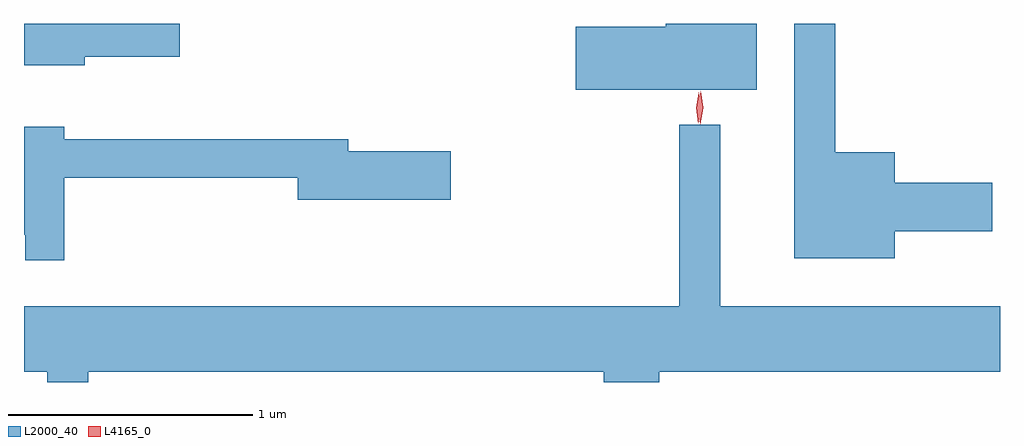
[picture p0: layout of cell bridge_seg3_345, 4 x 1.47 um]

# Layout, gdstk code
import gdstk
lib = gdstk.Library(unit=1e-6, precision=1e-09)
def P(c, l, *ps):  # polygons
    for p in ps: c.add(gdstk.Polygon(p, *l))
L2000_40 = (2000, 40)
L4165_0 = (4165, 0)

bridge_seg3_345 = lib.new_cell('bridge_seg3_345')
P(bridge_seg3_345, L2000_40, [(561.249,1253.982),(560.876,1253.982),(560.876,1253.969),(560.506,1253.969),(560.506,1253.711),(561.249,1253.711)],
  [(561.814,1253.131),(562.214,1253.131),(562.214,1253.329),(561.814,1253.329),(561.814,1253.454),(561.569,1253.454),(561.569,1253.982),(561.401,1253.982),(561.401,1253.021),(561.814,1253.021)],
  [(558.494,1253.846),(558.884,1253.846),(558.884,1253.982),(558.245,1253.982),(558.245,1253.811),(558.494,1253.811)],
  [(558.509,1252.556),(560.621,1252.556),(560.621,1252.512),(560.849,1252.512),(560.849,1252.556),(562.245,1252.556),(562.245,1252.824),(561.099,1252.824),(561.099,1253.568),(560.931,1253.568),(560.931,1252.824),(558.245,1252.824),(558.245,1252.556),(558.341,1252.556),(558.341,1252.512),(558.509,1252.512)],
  [(558.409,1253.351),(559.366,1253.351),(559.366,1253.261),(559.994,1253.261),(559.994,1253.459),(559.574,1253.459),(559.574,1253.509),(558.409,1253.509),(558.409,1253.559),(558.245,1253.559),(558.245,1253.116),(558.251,1253.116),(558.251,1253.013),(558.409,1253.013)])
P(bridge_seg3_345, L4165_0, [(561.016,1253.57),(561.008,1253.638),(561.018,1253.706),(561.018,1253.706),(561.019,1253.706),(561.028,1253.638),(561.017,1253.57),(561.017,1253.57)],
  [(561.008,1253.573),(561,1253.637),(561.01,1253.699),(561.011,1253.7),(561.011,1253.699),(561.02,1253.636),(561.009,1253.573),(561.009,1253.573)])

lib.write_gds('bridge_seg3_345.gds')
